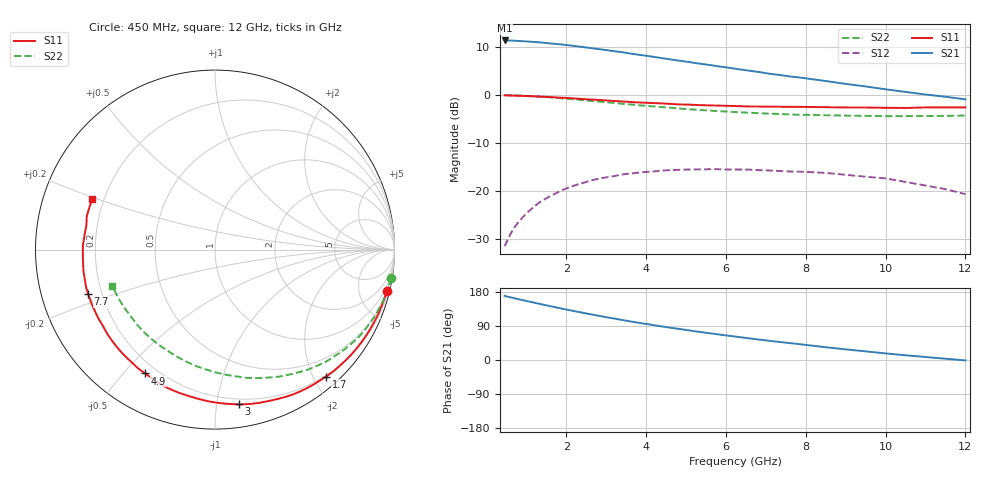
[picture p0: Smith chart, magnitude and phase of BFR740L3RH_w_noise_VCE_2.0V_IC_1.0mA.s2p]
! (c) 2012  Infineon Technologies AG, Munich
! Infineon Technologies  Discrete & RF Semiconductors
! BFR740L3RH
! VCE =  2.0 V,  IC =  1.0 mA
! Common Emitter S-Parameters:  May 2012
# GHz  S  MA  R  50
!  f  S11  S21  S12  S22
! GHz  MAG  ANG  MAG  ANG  MAG  ANG  MAG  ANG
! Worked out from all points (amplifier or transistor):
!   85 points, 450 MHz to 12 GHz, reference 50 ohm
!   highest |S21| = 11.3 dB at 450 MHz (marker M1)
!   |S21| within 3 dB of that: start of sweep to 3.838 GHz
!   unconditionally stable (mu >= 1): 10.41 GHz to end of sweep
!   at 1.8 GHz: K = 0.10, MSG = 15.3 dB, |S12| = -20.2 dB
!   at 4.6 GHz: K = 0.26, MSG = 11.5 dB, |S12| = -15.7 dB
!   at 12 GHz: K = 1.60, MAG = 5.3 dB, |S12| = -20.6 dB
!   lowest NFmin = 0.29 dB at 450 MHz
!   S11 on the Smith chart (normalised r, x): 450 MHz: 0.50, -8.36; 1.7 GHz: 0.18, -2.19; 3 GHz: 0.16, -1.15; 4.9 GHz: 0.16, -0.57; 7.7 GHz: 0.15, -0.17; 12 GHz: 0.16, +0.19
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0.45  0.9859 -13.6  3.659 169.2  0.0268 85.9  0.9941 -9.2
0.7  0.9783 -20.8  3.636 162.9  0.0423 73.8  0.9851 -14.0
1  0.969 -29.4  3.572 155.7  0.0589 68.1  0.9717 -19.6
1.3  0.9581 -37.8  3.501 148.7  0.075 62.1  0.9559 -25.3
1.7  0.9402 -48.8  3.378 139.7  0.0934 55.0  0.9315 -32.6
2  0.9258 -56.9  3.281 133.1  0.1065 48.8  0.9095 -37.9
2.4  0.9031 -67.0  3.13 124.8  0.121 41.6  0.8811 -44.7
2.7  0.8882 -74.2  3.016 118.8  0.1314 36.3  0.8581 -49.5
3  0.8724 -81.3  2.907 113.0  0.1388 31.7  0.8356 -54.1
3.6  0.8412 -94.5  2.679 101.8  0.152 22.2  0.7931 -63.1
3.9  0.828 -100.7  2.57 96.6  0.157 17.7  0.7725 -67.3
4.3  0.8156 -108.4  2.43 90.1  0.1614 12.2  0.7495 -72.8
4.9  0.7918 -119.4  2.236 80.8  0.1666 4.2  0.7153 -80.7
5.3  0.7812 -126.4  2.112 74.6  0.1678 -0.9  0.6971 -85.7
5.6  0.7755 -131.2  2.032 70.5  0.1685 -4.1  0.6845 -89.6
6.3  0.7617 -141.9  1.844 60.8  0.1675 -12.1  0.6598 -98.2
6.8  0.7545 -149.1  1.727 54.2  0.1651 -17.7  0.6439 -104.4
7.7  0.7488 -160.8  1.532 43.5  0.1594 -26.8  0.6221 -115.0
8.5  0.7426 -170.9  1.387 33.7  0.1543 -35.6  0.6124 -124.2
9.5  0.7368 178.6  1.219 22.8  0.141 -46.2  0.6034 -135.4
10.5  0.729 169.5  1.07 12.5  0.1244 -57.1  0.5994 -146.0
12  0.7395 157.7  0.895 -1.1  0.0929 -71.3  0.6082 -160.6
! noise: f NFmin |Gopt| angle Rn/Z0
0.45  0.29  0.92  6  0.48
0.9  0.32  0.91  18  0.46
1.5  0.4  0.89  31  0.42
1.9  0.48  0.84  40  0.4
2.4  0.57  0.79  49  0.38
3.5  0.79  0.75  68  0.33
5.5  1.16  0.78  97  0.21
8  1.59  0.72  139  0.09
10  1.91  0.71  161  0.05
12  2.2  0.81  -162  0.04
